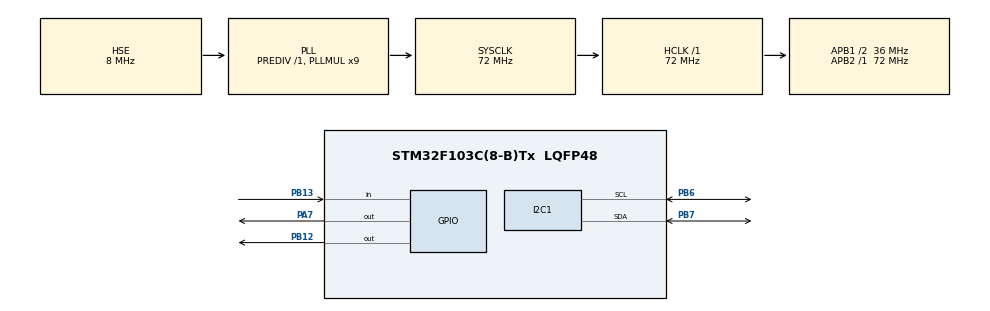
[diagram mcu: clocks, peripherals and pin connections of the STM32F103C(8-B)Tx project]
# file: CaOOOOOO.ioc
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I2C1.I2C_Mode=I2C_Fast
Mcu.Family=STM32F1
Mcu.Name=STM32F103C(8-B)Tx
Mcu.Package=LQFP48
NVIC.PriorityGroup=NVIC_PRIORITYGROUP_4
NVIC.TIM2_IRQn=true\:0\:0\:false\:false\:true\:true\:true\:true
PA13.Mode=Serial_Wire
PA13.Signal=SYS_JTMS-SWDIO
PA14.Mode=Serial_Wire
PA14.Signal=SYS_JTCK-SWCLK
PA7.PinState=GPIO_PIN_RESET
PA7.Signal=GPIO_Output
PB12.GPIO_PuPd=GPIO_PULLUP
PB12.PinState=GPIO_PIN_SET
PB12.Signal=GPIO_Output
PB13.Signal=GPIO_Input
PB6.Mode=I2C
PB6.Signal=I2C1_SCL
PB7.Mode=I2C
PB7.Signal=I2C1_SDA
PD0-OSC_IN.Mode=HSE-External-Oscillator
PD0-OSC_IN.Signal=RCC_OSC_IN
PD1-OSC_OUT.Mode=HSE-External-Oscillator
PD1-OSC_OUT.Signal=RCC_OSC_OUT
ProjectManager.HeapSize=0x200
ProjectManager.StackSize=0x400
ProjectManager.TargetToolchain=STM32CubeIDE
RCC.AHBFreq_Value=72000000
RCC.APB1CLKDivider=RCC_HCLK_DIV2
RCC.APB1Freq_Value=36000000
RCC.APB1TimFreq_Value=72000000
RCC.APB2Freq_Value=72000000
RCC.APB2TimFreq_Value=72000000
RCC.HCLKFreq_Value=72000000
RCC.PLLMUL=RCC_PLL_MUL9
RCC.PLLSourceVirtual=RCC_PLLSOURCE_HSE
RCC.SYSCLKFreq_VALUE=72000000
RCC.SYSCLKSource=RCC_SYSCLKSOURCE_PLLCLK
RCC.USBFreq_Value=72000000
TIM2.Period=9999
TIM2.Prescaler=7200-1
VP_TIM2_VS_ClockSourceINT.Mode=Internal
board=custom

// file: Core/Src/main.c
/* USER CODE BEGIN Header */
/**
  ******************************************************************************
  * @file           : main.c
  * @brief          : Main program body
  ******************************************************************************
  * @attention
  *
  * Copyright (c) 2025 STMicroelectronics.
  * All rights reserved.
  *
  * This software is licensed under terms that can be found in the LICENSE file
  * in the root directory of this software component.
  * If no LICENSE file comes with this software, it is provided AS-IS.
  *
  ******************************************************************************
  */
/* USER CODE END Header */
#include "main.h"
#include "i2c.h"
#include "tim.h"
#include "gpio.h"

/* USER CODE BEGIN PV */
uint8_t recv_bin[1000] = {0};
uint8_t recv_cnt = 0;
uint8_t reception_started = 0;    //开始接收
uint32_t laser_on_start_time = 0;  //激光开始亮的时间
uint8_t is_count = 0;
uint8_t flag = 0;
uint8_t start = 0;
uint32_t three_second_counter = 0;
uint8_t is_show = 0;
/* USER CODE END PV */

void SystemClock_Config(void);
/* USER CODE BEGIN PFP */

uint8_t light_recv_bin(uint8_t *recv_bin, uint8_t *recv_cnt);
void bin_to_hex_display(uint8_t *recv_bin, uint8_t *recv_cnt);
uint8_t wait_for_laser_start_on_signal(void);    //检测激光开始信号
//void bin_to_hex_display(uint8_t *recv_bin);
/* USER CODE END PFP */

/* USER CODE BEGIN 0 */

uint8_t light_recv_bin(uint8_t *recv_bin, uint8_t *recv_cnt)  {
	 if (*recv_cnt >= 10000) {
	        *recv_cnt = 0;
	        memset(recv_bin, 0, sizeof(recv_bin)); // 清空缓存
	    }
   // 读取光敏DO电平
   recv_bin[*recv_cnt] = (HAL_GPIO_ReadPin(GPIOB,GPIO_PIN_13) == 0) ? 1 : 0;
   (*recv_cnt)++;
   if(*recv_cnt == 4 * 40){
	   is_show = 1;
   }
   HAL_Delay(500);
   return 1;
}

char nibble_to_hex_char(uint8_t nibble) {
    if (nibble < 10) {
        return '0' + nibble;
    } else {
        return 'A' + (nibble - 10);
    }
}

void bin_to_hex_display(uint8_t *recv_bin, uint8_t *recv_cnt) {
    #define MAX_CHARS_PER_LINE 16
    #define MAX_LINES 4
    uint16_t total_bits = *recv_cnt;
    uint16_t hex_len = (total_bits + 3) / 4;
    char hex_str[hex_len + 1];
    uint16_t hex_index = 0;

    memset(hex_str, 0, sizeof(hex_str));

    for (uint16_t i = 0; i < total_bits; i += 4) {
        uint8_t nibble = 0;

        for (int j = 0; j < 4; j++) {
            if ((i + j) < total_bits) {
                nibble |= (recv_bin[i + j] & 0x01) << j;
            }
        }
        if (hex_index < hex_len) {
            hex_str[hex_index++] = nibble_to_hex_char(nibble);
        }
    }

    OLED_Clear();
    OLED_ShowString(0,0,"receive start",8,1);

    uint16_t current_str_pos = 0;

    for (uint8_t line = 0; line < MAX_LINES && current_str_pos < hex_len; line++) {
        char display_line[MAX_CHARS_PER_LINE + 1];
        uint8_t chars_to_copy = MAX_CHARS_PER_LINE;

        if (hex_len - current_str_pos < MAX_CHARS_PER_LINE) {
            chars_to_copy = hex_len - current_str_pos;
        }

        strncpy(display_line, hex_str + current_str_pos, chars_to_copy);
        display_line[chars_to_copy] = '\0';

        OLED_ShowString(0, 15 + line * 15, display_line, 8, 2);

        current_str_pos += chars_to_copy;
    }

    if (current_str_pos < hex_len) {
        OLED_ShowString(0, 15 + MAX_LINES * 15, "...", 8, 1);
    }

    OLED_Refresh();
}

uint8_t wait_for_laser_start_signal(void) {
    uint32_t current_time = HAL_GetTick();
    static uint8_t waiting_start = 0;

    // 检测激光是否亮
    if (HAL_GPIO_ReadPin(GPIOB, GPIO_PIN_13) == 0) {
        if (!waiting_start) {
            // 第一次检测到激光亮，记录开始时间
            laser_on_start_time = current_time;
            waiting_start = 1;
            __HAL_TIM_SET_COUNTER(&htim2,0);
            is_count = 1;
            OLED_Clear();
            OLED_ShowString(0,0,"Laser Detected",8,1);
            OLED_ShowString(0,15,"Wait 3s...",8,1);
            OLED_Refresh();
        } else {
            // 持续检测激光亮
            if (start) {
                // 激光持续亮3秒，开始信号有效
                waiting_start = 0;
                is_count = 0;
                OLED_Clear();
                OLED_ShowString(0,0,"Start Signal OK!",8,1);
                OLED_Clear();
                return 1; // 开始信号有效
            }
        }
    } else {
        // 激光熄灭，重置检测
        waiting_start = 0;
        is_count = 0;
        OLED_ShowString(0,0,"Wait for Laser",8,1);
        OLED_ShowString(0,15,"3s Start Signal",8,1);
        OLED_Refresh();
    }

    return 0; // 开始信号未完成
}

void HAL_TIM_PeriodElapsedCallback(TIM_HandleTypeDef *htim)
{
  // 检查是不是我们配置的 TIM2
  if (htim->Instance == TIM2)
  {
	  if(is_count){
			three_second_counter++; // 每次中断（1秒）加 1
			if(three_second_counter >= 3){
				three_second_counter = 0;
				is_count = 0;
				start = 1;
			}
	  }
  }
}
/* USER CODE END 0 */

int main(void)
{

  /* MCU Configuration--------------------------------------------------------*/

  /* Reset of all peripherals, Initializes the Flash interface and the Systick. */
  HAL_Init();

  /* Configure the system clock */
  SystemClock_Config();

  /* Initialize all configured peripherals */
  MX_GPIO_Init();
  MX_I2C1_Init();
  MX_TIM2_Init();
  /* USER CODE BEGIN 2 */
  OLED_Init();
  HAL_GPIO_WritePin(GPIOB,GPIO_PIN_12,GPIO_PIN_RESET);
  HAL_TIM_Base_Start_IT(&htim2);
  /* USER CODE END 2 */

  /* Infinite loop */
  /* USER CODE BEGIN WHILE */
  while (1)
  {
	  if(HAL_GPIO_ReadPin(GPIOB,GPIO_PIN_13)==GPIO_PIN_SET)
	  {
		  HAL_GPIO_WritePin(GPIOB,GPIO_PIN_12,GPIO_PIN_RESET);
		  HAL_GPIO_WritePin(GPIOA,GPIO_PIN_7,GPIO_PIN_RESET);
	  }
	  else{
		  HAL_GPIO_WritePin(GPIOB,GPIO_PIN_12,GPIO_PIN_SET);
		  HAL_GPIO_WritePin(GPIOA,GPIO_PIN_7,GPIO_PIN_SET);
	  }

  // 等待激光开始信号（持续亮3秒）
	 	if (!reception_started) {
	 		  if (wait_for_laser_start_signal()) {
	 			  reception_started = 1;
	 			  recv_cnt = 0; // 重置接收计数器
	 			  //OLED_Clear();
	 			  OLED_ShowString(0,0,"Receiving...",8,1);
	 			  OLED_Refresh();
	 		  }
	 		  HAL_Delay(250);
	 		  continue;
	 	  }
	 	  // 开始接收数据
	 	  if (light_recv_bin(recv_bin, &recv_cnt) == 1) {
	 		  // 可以在这里添加接收完成的条件判断
//	 		  if (recv_cnt >= 20) { // 例如接收20位后显示
	 		  if(is_show == 1){
	 			  bin_to_hex_display(recv_bin, &recv_cnt);
	 		  }
//	 			  //reception_started = 0; // 重置为等待开始信号状态
//	 			  HAL_Delay(3000);
//	 			  OLED_Clear();
//	 			  OLED_ShowString(0,0,"Wait for Laser",8,1);
//	 			  OLED_ShowString(0,15,"3s Start Signal",8,1);
//	 			  OLED_Refresh();
//	 		  }
	 		  // 实时计算并显示十六进制（收多少位算多少位）
//	 		        uint32_t hex_result = 0;
//	 		        for (uint8_t i = 0; i < recv_cnt; i++) {
//	 		            hex_result |= (uint32_t)recv_bin[i] << i;
//	 	  }
//
//	 		       // 用字符串显示十六进制（避免原OLED_ShowString显示数值错误）
//	 		           char hex_str[10] = {0}, hex_char[] = "0123456789ABCDEF";
//	 		           uint32_t temp_hex = hex_result;
//	 		           uint8_t str_idx = 0;
//	 		           for (int i = 28; i >= 0; i -= 4) { // 32位数值，每次取4位
//	 		               uint8_t digit = (temp_hex >> i) & 0x0F;
//	 		               if (digit != 0 || str_idx != 0) hex_str[str_idx++] = hex_char[digit];
//	 		           }
//	 		           if (str_idx == 0) hex_str[str_idx++] = '0';
//	 		           OLED_ShowString(40, 32, hex_str, 8, 1);
//
//	 		           OLED_Refresh();
	 	  }
    /* USER CODE END WHILE */

  }
}

void SystemClock_Config(void)
{
  RCC_OscInitTypeDef RCC_OscInitStruct = {0};
  RCC_ClkInitTypeDef RCC_ClkInitStruct = {0};

  /** Initializes the RCC Oscillators according to the specified parameters
  * in the RCC_OscInitTypeDef structure.
  */
  RCC_OscInitStruct.OscillatorType = RCC_OSCILLATORTYPE_HSE;
  RCC_OscInitStruct.HSEState = RCC_HSE_ON;
  RCC_OscInitStruct.HSEPredivValue = RCC_HSE_PREDIV_DIV1;
  RCC_OscInitStruct.HSIState = RCC_HSI_ON;
  RCC_OscInitStruct.PLL.PLLState = RCC_PLL_ON;
  RCC_OscInitStruct.PLL.PLLSource = RCC_PLLSOURCE_HSE;
  RCC_OscInitStruct.PLL.PLLMUL = RCC_PLL_MUL9;
  if (HAL_RCC_OscConfig(&RCC_OscInitStruct) != HAL_OK)
  {
    Error_Handler();
  }

  /** Initializes the CPU, AHB and APB buses clocks
  */
  RCC_ClkInitStruct.ClockType = RCC_CLOCKTYPE_HCLK|RCC_CLOCKTYPE_SYSCLK
                              |RCC_CLOCKTYPE_PCLK1|RCC_CLOCKTYPE_PCLK2;
  RCC_ClkInitStruct.SYSCLKSource = RCC_SYSCLKSOURCE_PLLCLK;
  RCC_ClkInitStruct.AHBCLKDivider = RCC_SYSCLK_DIV1;
  RCC_ClkInitStruct.APB1CLKDivider = RCC_HCLK_DIV2;
  RCC_ClkInitStruct.APB2CLKDivider = RCC_HCLK_DIV1;

  if (HAL_RCC_ClockConfig(&RCC_ClkInitStruct, FLASH_LATENCY_2) != HAL_OK)
  {
    Error_Handler();
  }
}

void Error_Handler(void)
{
  __disable_irq();
  while (1)
  {
  }
}
